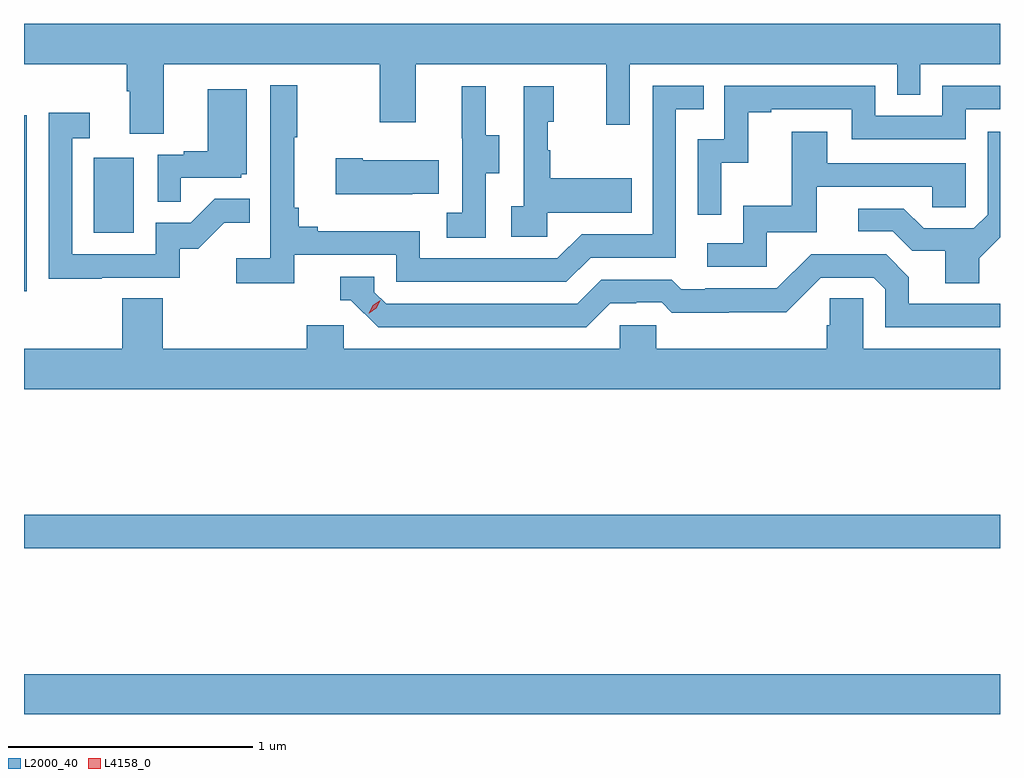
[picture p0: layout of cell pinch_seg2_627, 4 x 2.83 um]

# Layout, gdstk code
import gdstk
lib = gdstk.Library(unit=1e-6, precision=1e-09)
def R(c, l, rs):  # rectangles x0, y0, x1, y1
    for r in rs: c.add(gdstk.rectangle(r[:2], r[2:], *l))
def P(c, l, *ps):  # polygons
    for p in ps: c.add(gdstk.Polygon(p, *l))
L2000_40 = (2000, 40)
L4158_0 = (4158, 0)

pinch_seg2_627 = lib.new_cell('pinch_seg2_627')
R(pinch_seg2_627, L2000_40, [(1059.694,593.024,1063.694,593.188), (1059.694,593.704,1063.694,593.84), (1059.694,594.756,1059.706,595.477), (1059.98,594.996,1060.144,595.303)])
P(pinch_seg2_627, L2000_40, [(1060.267,595.688),(1061.152,595.688),(1061.152,595.449),(1061.299,595.449),(1061.299,595.688),(1062.08,595.688),(1062.08,595.44),(1062.177,595.44),(1062.177,595.688),(1063.272,595.688),(1063.272,595.561),(1063.368,595.561),(1063.368,595.688),(1063.694,595.688),(1063.694,595.852),(1059.694,595.852),(1059.694,595.688),(1060.115,595.688),(1060.115,595.576),(1060.127,595.576),(1060.127,595.402),(1060.267,595.402)],
  [(1060.802,594.906),(1061.22,594.906),(1061.22,594.795),(1061.917,594.795),(1062.016,594.894),(1062.366,594.894),(1062.366,595.503),(1062.479,595.503),(1062.479,595.599),(1062.27,595.599),(1062.27,594.99),(1061.979,594.99),(1061.88,594.891),(1061.316,594.891),(1061.316,595.003),(1060.897,595.003),(1060.897,595.022),(1060.82,595.022),(1060.82,595.099),(1060.801,595.099),(1060.801,595.387),(1060.813,595.387),(1060.813,595.6),(1060.704,595.6),(1060.704,594.892),(1060.563,594.892),(1060.563,594.79),(1060.802,594.79)],
  [(1062.552,595.283),(1062.662,595.283),(1062.662,595.491),(1062.757,595.491),(1062.757,595.503),(1063.086,595.503),(1063.086,595.38),(1063.554,595.38),(1063.554,595.503),(1063.694,595.503),(1063.694,595.599),(1063.458,595.599),(1063.458,595.476),(1063.182,595.476),(1063.182,595.599),(1062.564,595.599),(1062.564,595.38),(1062.456,595.38),(1062.456,595.071),(1062.552,595.071)],
  [(1061.586,595.24),(1061.641,595.24),(1061.641,595.395),(1061.587,595.395),(1061.587,595.597),(1061.489,595.597),(1061.489,595.383),(1061.49,595.383),(1061.49,595.079),(1061.427,595.079),(1061.427,594.976),(1061.586,594.976)],
  [(1061.838,595.079),(1062.185,595.079),(1062.185,595.219),(1061.851,595.219),(1061.851,595.334),(1061.841,595.334),(1061.841,595.452),(1061.866,595.452),(1061.866,595.597),(1061.742,595.597),(1061.742,595.106),(1061.691,595.106),(1061.691,594.981),(1061.838,594.981)],
  [(1060.337,595.221),(1060.584,595.221),(1060.584,595.236),(1060.606,595.236),(1060.606,595.585),(1060.448,595.585),(1060.448,595.33),(1060.349,595.33),(1060.349,595.317),(1060.242,595.317),(1060.242,595.123),(1060.337,595.123)],
  [(1060.013,594.813),(1060.332,594.813),(1060.332,594.93),(1060.408,594.93),(1060.515,595.037),(1060.619,595.037),(1060.619,595.136),(1060.475,595.136),(1060.377,595.038),(1060.233,595.038),(1060.233,594.909),(1059.891,594.909),(1059.891,595.383),(1059.964,595.383),(1059.964,595.489),(1059.795,595.489),(1059.795,594.808),(1060.013,594.808)],
  [(1062.738,594.999),(1062.943,594.999),(1062.943,595.185),(1063.417,595.185),(1063.417,595.101),(1063.554,595.101),(1063.554,595.281),(1062.985,595.281),(1062.985,595.411),(1062.841,595.411),(1062.841,595.108),(1062.642,595.108),(1062.642,594.954),(1062.495,594.954),(1062.495,594.858),(1062.738,594.858)],
  [(1063.609,594.892),(1063.694,594.977),(1063.694,595.411),(1063.644,595.411),(1063.644,595.071),(1063.587,595.014),(1063.381,595.014),(1063.3,595.095),(1063.113,595.095),(1063.113,595.002),(1063.254,595.002),(1063.334,594.922),(1063.469,594.922),(1063.469,594.79),(1063.609,594.79)],
  [(1061.285,595.157),(1061.393,595.157),(1061.393,595.294),(1061.083,595.294),(1061.083,595.302),(1060.971,595.302),(1060.971,595.154),(1061.285,595.154)],
  [(1062.097,594.708),(1062.204,594.708),(1062.204,594.711),(1062.307,594.711),(1062.349,594.669),(1062.582,594.669),(1062.582,594.671),(1062.818,594.671),(1062.96,594.813),(1063.176,594.813),(1063.224,594.765),(1063.224,594.609),(1063.694,594.609),(1063.694,594.705),(1063.321,594.705),(1063.321,594.815),(1063.227,594.909),(1062.921,594.909),(1062.78,594.768),(1062.487,594.768),(1062.487,594.765),(1062.388,594.765),(1062.349,594.804),(1062.06,594.804),(1061.961,594.705),(1061.178,594.705),(1061.13,594.753),(1061.13,594.816),(1060.991,594.816),(1060.991,594.72),(1061.034,594.72),(1061.145,594.609),(1061.998,594.609)],
  [(1063.694,594.52),(1063.134,594.52),(1063.134,594.728),(1062.997,594.728),(1062.997,594.618),(1062.983,594.618),(1062.983,594.52),(1062.285,594.52),(1062.285,594.618),(1062.135,594.618),(1062.135,594.52),(1061.004,594.52),(1061.004,594.618),(1060.853,594.618),(1060.853,594.52),(1060.262,594.52),(1060.262,594.728),(1060.097,594.728),(1060.097,594.52),(1059.694,594.52),(1059.694,594.356),(1063.694,594.356)])
P(pinch_seg2_627, L4158_0, [(1061.107,594.666),(1061.107,594.666),(1061.124,594.699),(1061.155,594.719),(1061.155,594.719),(1061.155,594.718),(1061.138,594.686),(1061.108,594.666)])

lib.write_gds('pinch_seg2_627.gds')
